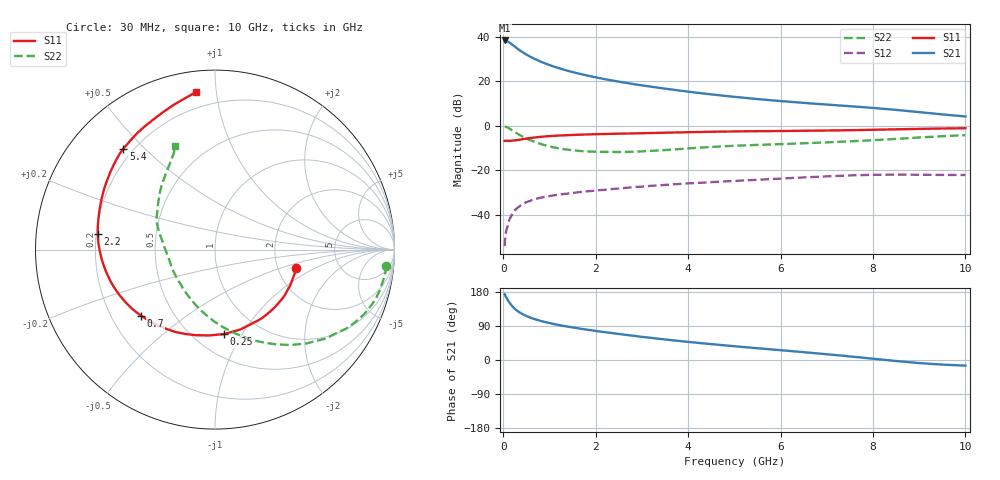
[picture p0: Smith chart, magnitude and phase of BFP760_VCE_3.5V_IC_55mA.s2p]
! Infineon Technologies  Discrete & RF Semiconductors
! BFP760
! VCE =  3.5 V,  IC =  55 mA
! Common Emitter S-Parameters:  Nov 2012
# GHz  S  MA  R  50
!  f  S11  S21  S12  S22
! GHz  MAG  ANG  MAG  ANG  MAG  ANG  MAG  ANG
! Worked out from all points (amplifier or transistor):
!   99 points, 30 MHz to 10 GHz, reference 50 ohm
!   highest |S21| = 38.3 dB at 30 MHz (marker M1)
!   |S21| within 3 dB of that: start of sweep to 265.9 MHz
!   unconditionally stable (mu >= 1): 3.605 GHz to end of sweep
!   at 350 MHz: K = 0.39, MSG = 35.1 dB, |S12| = -36.1 dB
!   at 3.5 GHz: K = 0.99, MSG = 21.6 dB, |S12| = -26.5 dB
!   at 10 GHz: K = 1.04, MAG = 11.9 dB, |S12| = -22.0 dB
!   S11 on the Smith chart (normalised r, x): 30 MHz: 2.51, -0.66; 250 MHz: 0.69, -0.84; 700 MHz: 0.33, -0.35; 2.2 GHz: 0.21, +0.06; 5.4 GHz: 0.16, +0.43; 10 GHz: 0.11, +0.88
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0.03  0.4614 -13.0  82.67 173.6  0.002 82.3  0.9561 -5.4
0.05  0.4624 -21.2  82.58 168.6  0.0031 76.3  0.9526 -10.2
0.08  0.4644 -33.3  80.3 162.1  0.0051 81.3  0.9368 -17.0
0.13  0.4621 -51.5  74.63 152.4  0.0077 70.5  0.8804 -27.3
0.15  0.4621 -58.1  72.28 148.9  0.0085 69.4  0.8538 -31.0
0.2  0.4672 -72.4  66.01 141.4  0.0109 64.6  0.7889 -39.0
0.25  0.4733 -84.1  60.26 135.3  0.0128 62.2  0.7288 -45.9
0.3  0.4794 -94.1  54.97 130.1  0.0142 59.4  0.6766 -51.8
0.35  0.4887 -102.6  50.34 125.8  0.0157 56.2  0.6299 -57.0
0.45  0.5093 -115.8  42.98 119.0  0.0183 53.0  0.5547 -66.2
0.6  0.5369 -130.6  35.06 111.2  0.0212 48.7  0.4716 -77.9
0.7  0.5525 -138.0  31.16 107.1  0.0229 46.7  0.4303 -84.8
0.9  0.579 -149.8  25.41 100.3  0.0256 43.7  0.3693 -97.4
1.1  0.5982 -158.7  21.37 94.8  0.0277 42.0  0.3289 -108.5
1.7  0.6369 -177.0  14.38 82.1  0.0331 40.2  0.2715 -135.0
2.2  0.6582 172.4  11.18 73.4  0.0369 39.7  0.2614 -152.2
3.4  0.6998 152.8  7.088 55.6  0.0467 37.7  0.283 176.8
5.1  0.7539 134.5  4.386 35.3  0.0589 33.5  0.3616 153.9
5.4  0.7597 132.2  4.095 32.1  0.061 32.8  0.3717 151.0
6.7  0.7818 123.2  3.173 18.5  0.0713 28.1  0.4155 139.3
8.5  0.8384 106.0  2.285 -2.7  0.0809 16.4  0.5103 121.9
10  0.8867 96.7  1.629 -14.9  0.0791 11.0  0.6202 111.3
